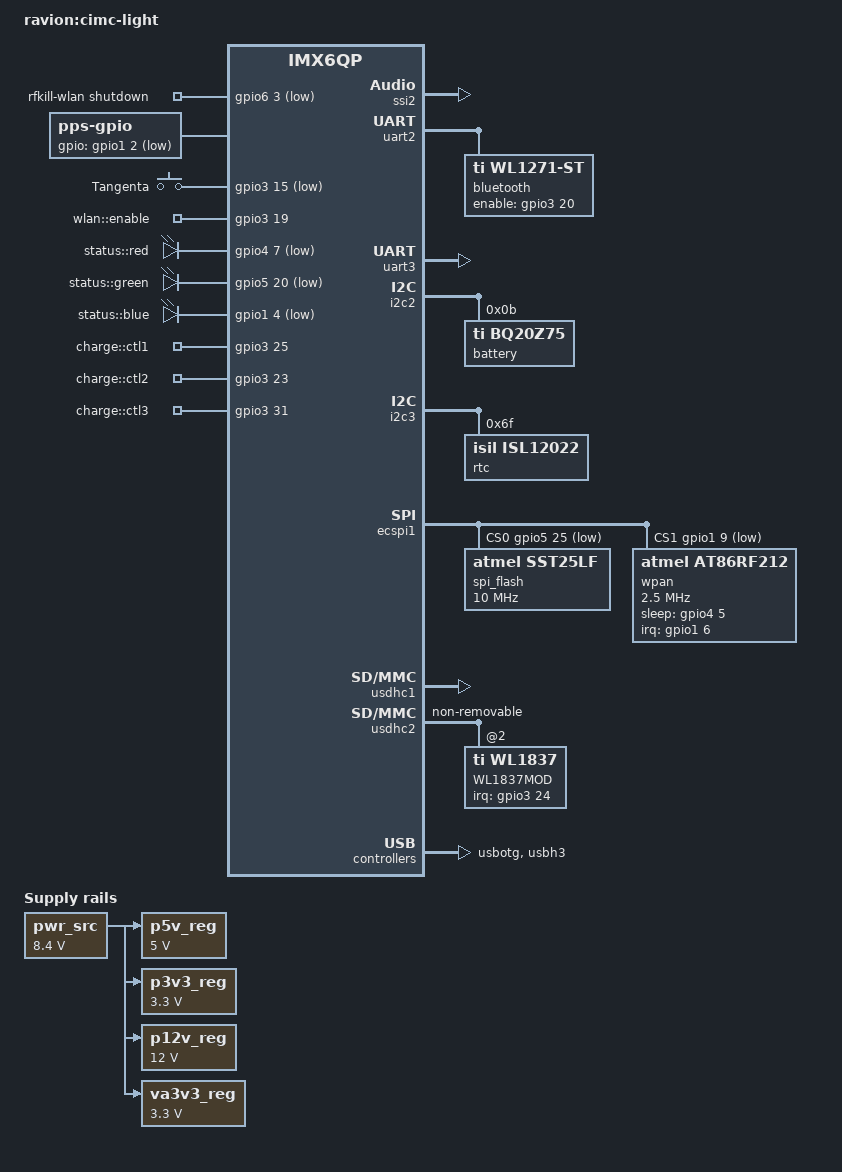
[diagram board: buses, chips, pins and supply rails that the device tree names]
/*
 * Copyright 2024 Radioavionica Corp.
 *
 * Author: Alex A. Mihaylov <minimumlaw@rambler.ru>
 *
 * This program is free software; you can redistribute it and/or modify
 * it under the terms of the GNU General Public License version 2 as
 * published by the Free Software Foundation.
 *
 */
/dts-v1/;
#include "imx6qp.dtsi"

#define SPI_CS_GPIO
#include "imx6qdl-ravion-v2.dtsi"

/ {
	model = "ravion:cimc-light";
	compatible = "ravion,imx6qp", "fsl,imx6qp";

	/*
	 * Device specific regulators
	 */
	pwr_src: regulator_power {
		compatible = "regulator-fixed";
		regulator-name = "BATT_IN";
		/* FixMe: 5...8.4V input voltage */
		regulator-min-microvolt = <8400000>;
		regulator-max-microvolt = <8400000>;
		regulator-boot-on;
		regulator-always-on;
	};

	p5v_reg: regulator_5v0 {
		compatible = "regulator-fixed";
		regulator-name = "P5V";
		regulator-min-microvolt = <5000000>;
		regulator-max-microvolt = <5000000>;
		vin-supply = <&pwr_src>;
		regulator-boot-on;
		regulator-always-on;
	};

	p3v3_reg: regulator_3v3 {
		compatible = "regulator-fixed";
		regulator-name = "P3V3";
		regulator-min-microvolt = <3300000>;
		regulator-max-microvolt = <3300000>;
		vin-supply = <&pwr_src>;
		regulator-boot-on;
		regulator-always-on;
	};

	p12v_reg: regulator_12v {
		compatible = "regulator-fixed";
		regulator-name = "P12V";
		regulator-min-microvolt = <12000000>;
		regulator-max-microvolt = <12000000>;
		vin-supply = <&pwr_src>;
		regulator-boot-on;
		regulator-always-on; /* XP61: enable/disable reg. */
	};

	va3v3_reg: regulator_3v3va {
		compatible = "regulator-fixed";
		regulator-name = "VA3V3";
		regulator-min-microvolt = <3300000>;
		regulator-max-microvolt = <3300000>;
		vin-supply = <&pwr_src>;
		regulator-boot-on;
		regulator-always-on;
	};

	rfkill {
		compatible = "rfkill-gpio";
		label = "rfkill-wlan";
		radio-type = "wlan";
		shutdown-gpios = <&gpio6  3 GPIO_ACTIVE_LOW>;	/* soDimm059 */
	};

	pps {
		compatible = "pps-gpio";
		gpios	= <&gpio1  2 GPIO_ACTIVE_LOW>;		/* soDimm055 */
	};

	gpio-keys {
		compatible = "gpio-keys";

		tangenta {
			label = "Tangenta";
			gpios = <&gpio3 15 GPIO_ACTIVE_LOW>;	/* soDimm120 */
			linux,code = <KEY_F2>;
			debounce-interval = <100>;
			wakeup-source;
		};
	};

	gpio-leds {
		compatible = "gpio-leds";

		wlan_en {
			label = "wlan::enable";
			gpios = <&gpio3 19 GPIO_ACTIVE_HIGH>;	/* soDimm025 */
			default-state = "on";
		};

		status_red {
			label = "status::red";
			gpios = <&gpio4 7 GPIO_ACTIVE_LOW>;	/* soDimm190 */
			default-state = "off";
		};

		status_green {
			label = "status::green";
			gpios = <&gpio5 20 GPIO_ACTIVE_LOW>;	/* soDimm192 */
			default-state = "off";
		};

		status_blue {
			label = "status::blue";
			linux,default-trigger = "heartbeat";
			gpios = <&gpio1 4 GPIO_ACTIVE_LOW>;	/* soDimm188 */
			default-state = "on";
		};

		/* charge CTL1,2,3 default to 110 - SDP */
		charge_ctl1 {
			label = "charge::ctl1";
			gpios = <&gpio3 25 GPIO_ACTIVE_HIGH>;	/* soDimm029 */
			default-state = "on";
		};

		charge_ctl2 {
			label = "charge::ctl2";
			gpios = <&gpio3 23 GPIO_ACTIVE_HIGH>;	/* soDimm031 */
			default-state = "on";
		};

		charge_ctl3 {
			label = "charge::ctl3";
			gpios = <&gpio3 31 GPIO_ACTIVE_HIGH>;	/* soDimm037 */
			default-state = "off";
		};
	};
};

/*
 * Sound subsystem
 */
&ssi2	{	status = "okay";	};

/*
 * Video subsystems
 */
&hdmi { status = "disabled";	};
/* TFT */
&tft_display_bus {	status = "disabled";};
/* LVDS */
&ldb { status = "disabled"; };

/*
 * Serial ports
 */
/* &uart1 {	status = "okay";	}; => Allways enabled */
&uart2 {
	status = "okay";

	bluetooth { /* DD19: CC2564CRVM */
		enable-gpios = <&gpio3 20 GPIO_ACTIVE_HIGH>;	/* soDimm 027 */
		compatible = "ti,wl1271-st";
		clocks = <&clk_32k_bt 0>;
		clock-names = "ext_clock";
		max-speed = <3686400>;
		current-speed = <115200>;
		status = "okay";

		clk_32k_bt: bt_clk {
			compatible = "fixed-clock";
			#clock-cells = <0>;
			clock-frequency = <32768>;
			clock-accuracy = <100>;
		};
	};
};
&uart3 {
	status = "okay";
};

/*
 * Controller Area Network (CAN) Bus
 */
&can1 {	status = "disabled"; };

/*
 * I2C Busses
 */
&i2c2 {	/* Compatible I2C: soDimm 194, 196 */
	status = "okay";

	battery@b {	/* SMBus battery */
		compatible = "ti,bq20z75", "sbs,sbs-battery";
		reg = <0xb>;
		sbs,i2c-retry-count = <2>;
		sbs,poll-retry-count = <10>;
	};
};

&i2c3 { /* Extended I2C: soDimm 128, 130 */
	status = "okay";

	rtc@6f { /* ISL12020: I2C Real Time Clock (battery backup) */
		compatible = "isil,isl12022";
		reg = <0x6f>;
	};
};

&mipi_csi { status = "disabled"; };

/*
 * SPI Bus
 */
&ecspi1 {
	cs-gpios =
		<&gpio5 25 GPIO_ACTIVE_LOW>, /* soDimm086 - cs0 */
		<&gpio1  9 GPIO_ACTIVE_LOW>; /* soDimm178 - cs1 */
	num-cs = <2>;
	status = "okay";

	spi_flash: s25fl256@0 {
		#address-cells = <1>;
		#size-cells = <1>;
		reg = <0>;
		compatible = "atmel,sst25lf";	/* FixMe: bad value!!! */
		spi-max-frequency = <10000000>;	/* 10MHz */
	};

	wpan: at86rf212@1 {
		#address-cells = <1>;
		#size-cells = <1>;
		reg = <1>;
		compatible = "atmel,at86rf212";
		spi-max-frequency = <2500000>; /* 2.5MHz as start value */
		interrupts = <6 IRQ_TYPE_LEVEL_HIGH>;
		interrupt-parent = <&gpio1>;			/* soDimm180 */
		sleep-gpio = <&gpio4 5 GPIO_ACTIVE_HIGH>;	/* soDimm176 */
		xtal-trim = /bits/ 8 <0x06>;
	};
};

/*
 * SD/MMC and eMMC controllers
 */
&usdhc1 {	status = "okay";	};	/* compatible */
&usdhc2 {					/* externed */
	keep-power-in-suspend;
	cap-power-off-card;
	non-removable;
	max-frequency = <25000000>;
	status = "okay";
	#address-cells = <1>;
	#size-cells = <0>;

	WL1837MOD: wlcore@2 {
		compatible = "ti,wl1837";
		reg = <2>;
		interrupt-parent = <&gpio3>;
		interrupts = <24 IRQ_TYPE_LEVEL_HIGH>;	/* soDim023 */
		tcxo-clock-frequency = <26000000>;
	};
};
/* &usdhc3 {	status = "okay";	}; => eMMC allways enabled */

/*
 * Ethernet controller
 */
/* &fec {	status = "okay";	}; => eth0 allways enabled */

/*
 * Audio (digital part)
 */
/* &audmux {	status = "okay";	}; => Allways enabled */
/* &ssi1 {	status = "okay";	}; => Allways enabled */

/*
 * High-speed serial bus
 */

&sata {	status = "disabled"; };

/* &usbh1 {	status = "okay";	}; HOST => Allways enabled */

&usbotg	{ /* OTG */
	status = "okay";
};

&usbh3 { /* HSIC */
	status = "okay";
	#address-cells = <1>;
	#size-cells = <0>;
};

/*
 * PWMs
 */
&pwm3	{	status = "disabled";	};
&pwm4	{	status = "disabled";	};

&iomuxc {
	pinctrl-names = "default";
	pinctrl-0 = <&pinctrl_hog>, <&pinctrl_uart1gpio>;
};
